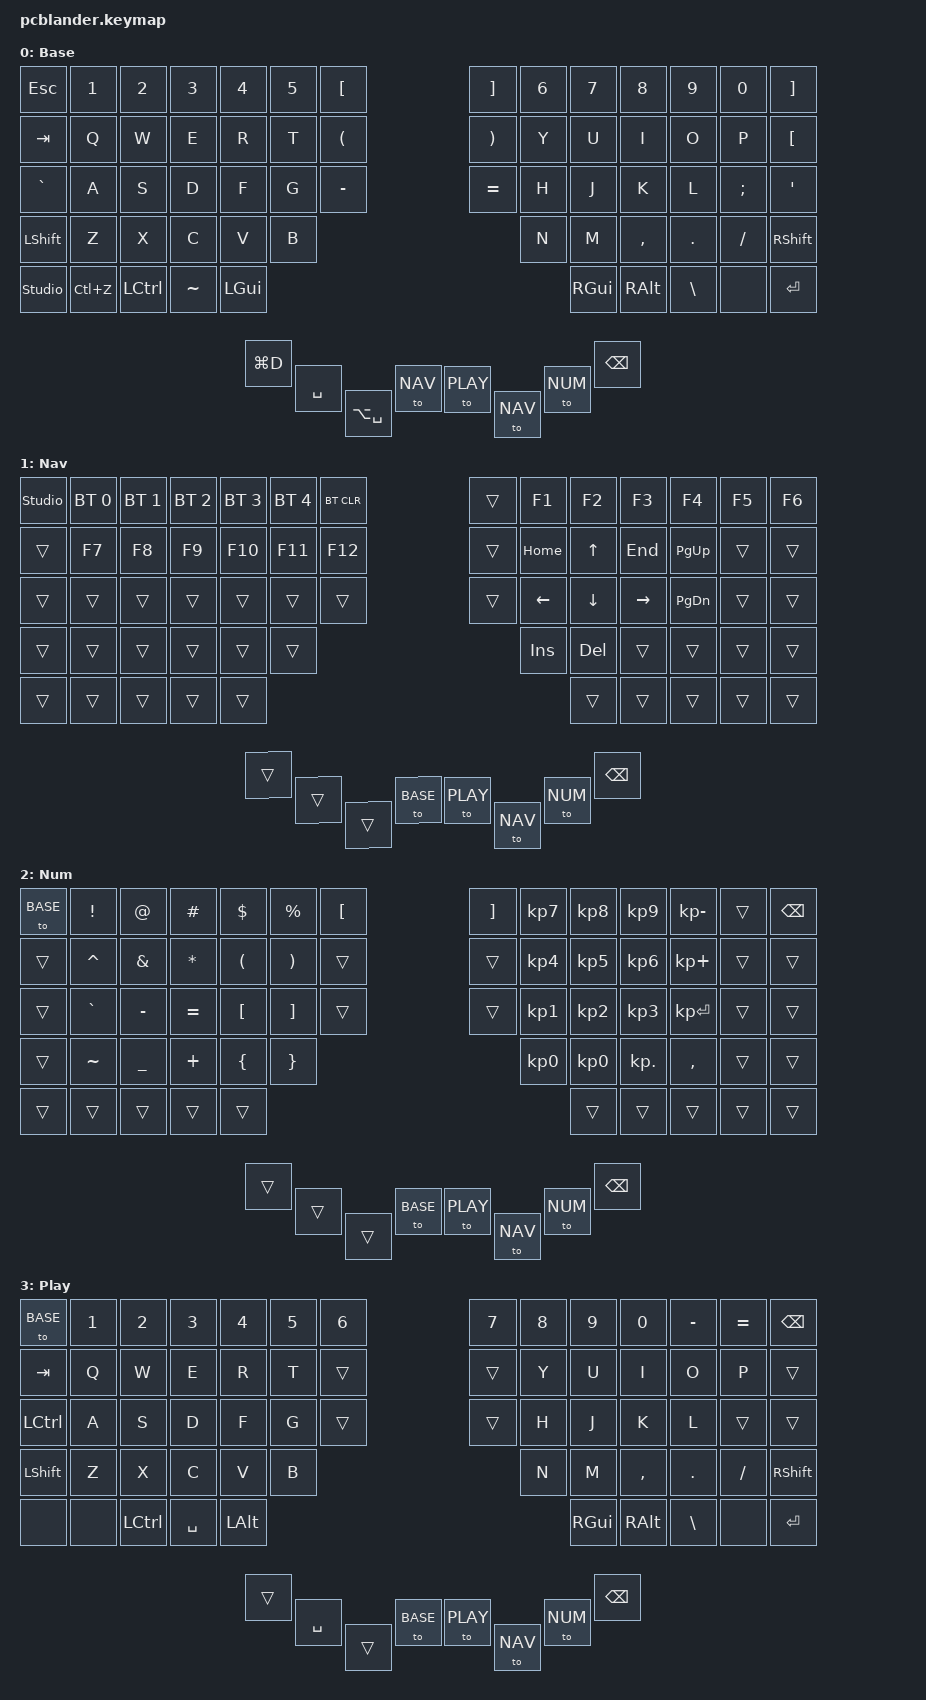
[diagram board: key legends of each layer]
#include <behaviors.dtsi>
#include <dt-bindings/zmk/bt.h>
#include <dt-bindings/zmk/keys.h>

#define BASE 0
#define NAV 1
#define NUM 2
#define PLAY 3

/ {
    keymap {
        compatible = "zmk,keymap";

        base_layer {
            display-name = "Base";
            bindings = <
                &kp ESC     &kp N1      &kp N2      &kp N3      &kp N4      &kp N5      &kp LBKT        &kp RBKT    &kp N6      &kp N7      &kp N8      &kp N9      &kp N0      &kp RBKT
                &kp TAB     &kp Q       &kp W       &kp E       &kp R       &kp T       &kp LPAR        &kp RPAR    &kp Y       &kp U       &kp I       &kp O       &kp P       &kp LBKT
                &kp GRAVE   &kp A       &kp S       &kp D       &kp F       &kp G       &kp MINUS       &kp EQUAL   &kp H       &kp J       &kp K       &kp L       &kp SEMI    &kp SQT
                &kp LSHFT   &kp Z       &kp X       &kp C       &kp V       &kp B                       &kp N       &kp M       &kp COMMA   &kp DOT     &kp FSLH    &kp RSHFT
                &studio_unlock &kp LC(Z) &kp LCTRL   &kp TILDE   &kp LGUI                    &kp RGUI    &kp RALT    &kp BSLH    &none       &kp RET
                &kp LG(D)   &kp SPACE   &kp LA(SPACE) &to NAV                                  &to PLAY   &to NAV     &to NUM     &kp BSPC
            >;
        };

        nav_layer {
            display-name = "Nav";
            bindings = <
                &studio_unlock &bt BT_SEL 0 &bt BT_SEL 1 &bt BT_SEL 2 &bt BT_SEL 3 &bt BT_SEL 4 &bt BT_CLR   &trans     &kp F1      &kp F2      &kp F3      &kp F4      &kp F5      &kp F6
                &trans      &kp F7      &kp F8      &kp F9      &kp F10     &kp F11     &kp F12         &trans     &kp HOME    &kp UP      &kp END     &kp PG_UP   &trans      &trans
                &trans      &trans      &trans      &trans      &trans      &trans      &trans          &trans     &kp LEFT    &kp DOWN    &kp RIGHT   &kp PG_DN   &trans      &trans
                &trans      &trans      &trans      &trans      &trans      &trans                      &kp INS     &kp DEL     &trans      &trans      &trans      &trans
                &trans      &trans      &trans      &trans      &trans                     &trans      &trans      &trans      &trans      &trans
                &trans      &trans      &trans      &to BASE                                  &to PLAY   &to NAV     &to NUM     &kp BSPC
            >;
        };

        num_layer {
            display-name = "Num";
            bindings = <
                &to BASE    &kp EXCL    &kp AT      &kp HASH    &kp DLLR    &kp PRCNT   &kp LBKT        &kp RBKT    &kp KP_N7   &kp KP_N8   &kp KP_N9   &kp KP_MINUS &trans     &kp BSPC
                &trans      &kp CARET   &kp AMPS    &kp ASTRK   &kp LPAR    &kp RPAR    &trans          &trans     &kp KP_N4   &kp KP_N5   &kp KP_N6   &kp KP_PLUS &trans      &trans
                &trans      &kp GRAVE   &kp MINUS   &kp EQUAL   &kp LBKT    &kp RBKT    &trans          &trans     &kp KP_N1   &kp KP_N2   &kp KP_N3   &kp KP_ENTER &trans     &trans
                &trans      &kp TILDE   &kp UNDER   &kp PLUS    &kp LBRC    &kp RBRC                    &kp KP_N0   &kp KP_N0   &kp KP_DOT  &kp COMMA   &trans      &trans
                &trans      &trans      &trans      &trans      &trans                     &trans      &trans      &trans      &trans      &trans
                &trans      &trans      &trans      &to BASE                                  &to PLAY   &to NAV     &to NUM     &kp BSPC
            >;
        };

        play_layer {
            display-name = "Play";
            bindings = <
                &to BASE    &kp N1      &kp N2      &kp N3      &kp N4      &kp N5      &kp N6          &kp N7      &kp N8      &kp N9      &kp N0      &kp MINUS   &kp EQUAL   &kp BSPC
                &kp TAB     &kp Q       &kp W       &kp E       &kp R       &kp T       &trans          &trans     &kp Y       &kp U       &kp I       &kp O       &kp P       &trans
                &kp LCTRL   &kp A       &kp S       &kp D       &kp F       &kp G       &trans          &trans     &kp H       &kp J       &kp K       &kp L       &trans      &trans
                &kp LSHFT   &kp Z       &kp X       &kp C       &kp V       &kp B                       &kp N       &kp M       &kp COMMA   &kp DOT     &kp FSLH    &kp RSHFT
                &none       &none       &kp LCTRL   &kp SPACE   &kp LALT                    &kp RGUI    &kp RALT    &kp BSLH    &none       &kp RET
                &trans      &kp SPACE   &trans      &to BASE                                  &to PLAY   &to NAV     &to NUM     &kp BSPC
            >;
        };
    };
};
